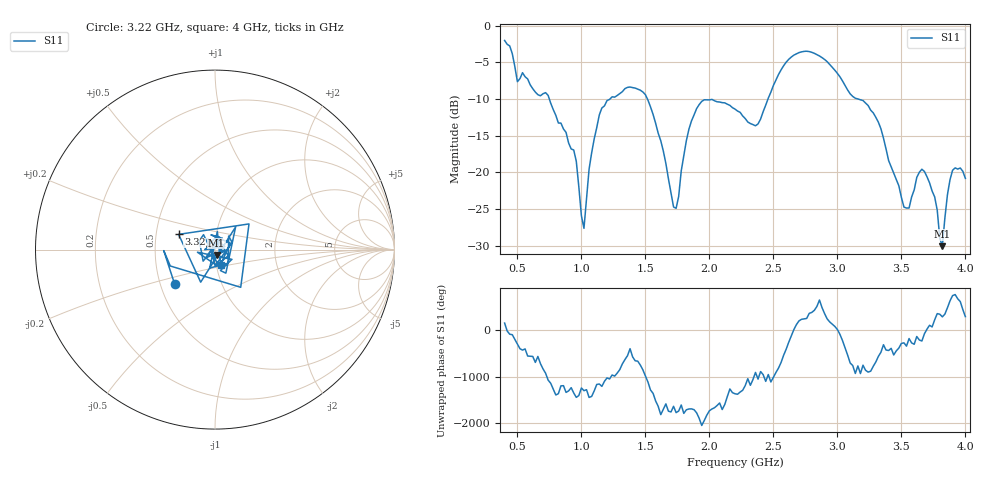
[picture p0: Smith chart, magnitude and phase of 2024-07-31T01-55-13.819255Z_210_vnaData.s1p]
!Created with skrf (http://scikit-rf.org).
# Hz S RI R 50.0
!freq ReS11 ImS11
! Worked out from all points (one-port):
!   181 points, 400 MHz to 4 GHz, reference 50 ohm
!   lowest |S11| = -30.1 dB at 3.82 GHz (marker M1), VSWR 1.06, Z = 50.8 - j3.07 ohm
!   |S11| at or under -10 dB: 749.3 MHz to 1.223 GHz (474.2 MHz wide, 48.1 % of centre); 1.516 GHz to 2.458 GHz (941.9 MHz wide, 47.4 % of centre); 3.161 GHz to end of sweep
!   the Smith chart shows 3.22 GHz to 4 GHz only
!   S11 on the Smith chart (normalised r, x): 3.22 GHz: 0.59, -0.25; 3.32 GHz: 0.65, +0.12; 4 GHz: 1.05, -0.18
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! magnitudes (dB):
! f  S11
! 400 MHz  -2.0
! 500 MHz  -7.6
! 720 MHz  -9.1
! 860 MHz  -14.1
! 960 MHz  -18.5
! 1.02 GHz  -27.6
! 1.06 GHz  -19.6
! 1.14 GHz  -12.2
! 1.3 GHz  -9.3
! 1.5 GHz  -9.4
! 1.62 GHz  -15.7
! 1.72 GHz  -24.7
! 1.76 GHz  -23.3
! 1.82 GHz  -15.7
! 1.92 GHz  -10.8
! 2.2 GHz  -11.4
! 2.38 GHz  -13.4
! 2.66 GHz  -4.0
! 2.88 GHz  -4.4
! 3.1 GHz  -9.3
! 3.22 GHz  -10.6
! 3.32 GHz  -13.2
! 3.56 GHz  -24.9
! 3.68 GHz  -19.9
! 3.76 GHz  -23.3
! 3.82 GHz  -30.1
! 3.9 GHz  -19.7
! 4 GHz  -20.8
